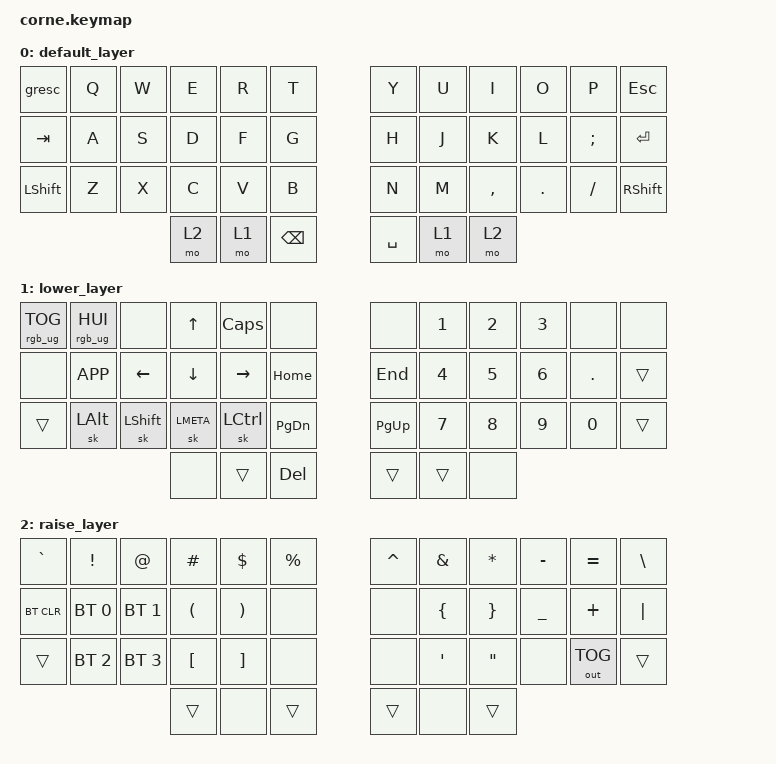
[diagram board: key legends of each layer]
/*
 * Copyright (c) 2020 The ZMK Contributors
 *
 * SPDX-License-Identifier: MIT
 */

#include <behaviors.dtsi>
#include <dt-bindings/zmk/keys.h>
#include <dt-bindings/zmk/bt.h>
#include <dt-bindings/zmk/rgb.h>
#include <dt-bindings/zmk/outputs.h>

/ {
        keymap {
                compatible = "zmk,keymap";

                default_layer {
                        bindings = <
  &gresc        &kp Q        &kp W         &kp E         &kp R         &kp T         &kp Y         &kp U        &kp I            &kp O         &kp P         &kp ESC 
  &kp TAB       &kp A        &kp S         &kp D         &kp F         &kp G         &kp H         &kp J        &kp K            &kp L         &kp SEMI      &kp RET
  &kp LSHFT     &kp Z        &kp X         &kp C         &kp V         &kp B         &kp N         &kp M        &kp COMMA        &kp DOT       &kp FSLH      &kp RSHFT
  &mo 2                 &mo 1  &kp BSPC     &kp SPACE  &mo 1           &mo 2
                        >;
                };
                lower_layer {
                        bindings = <
  &rgb_ug RGB_TOG  &rgb_ug RGB_HUI        &none         &kp UP        &kp CAPS      &none         &none         &kp N1       &kp N2           &kp N3        &none         &none
  &none         &kp K_APP    &kp LEFT      &kp DOWN      &kp RIGHT     &kp HOME      &kp END       &kp N4       &kp N5           &kp N6        &kp DOT       &trans
  &trans        &sk LALT     &sk LSHFT     &sk LMETA     &sk LCTRL     &kp PG_DN     &kp PG_UP     &kp N7       &kp N8           &kp N9        &kp N0        &trans
  &none         &trans       &kp DEL       &trans        &trans        &none   
                        >;
                };
                raise_layer {
                        bindings = <
  &kp GRAVE     &kp EXCL     &kp AT        &kp HASH      &kp DLLR      &kp PRCNT     &kp CARET     &kp AMPS     &kp STAR         &kp MINUS     &kp EQUAL     &kp BACKSLASH
  &bt BT_CLR    &bt BT_SEL 0 &bt BT_SEL 1  &kp LPAR      &kp RPAR      &none         &none         &kp LBRC     &kp RBRC         &kp UNDER     &kp PLUS      &kp PIPE
  &trans        &bt BT_SEL 2 &bt BT_SEL 3  &kp LBKT      &kp RBKT      &none         &none         &kp SQT      &kp DQT          &none         &out OUT_TOG  &trans   
  &trans        &none        &trans        &trans        &none         &trans  
                        >;
                };
        };
};
